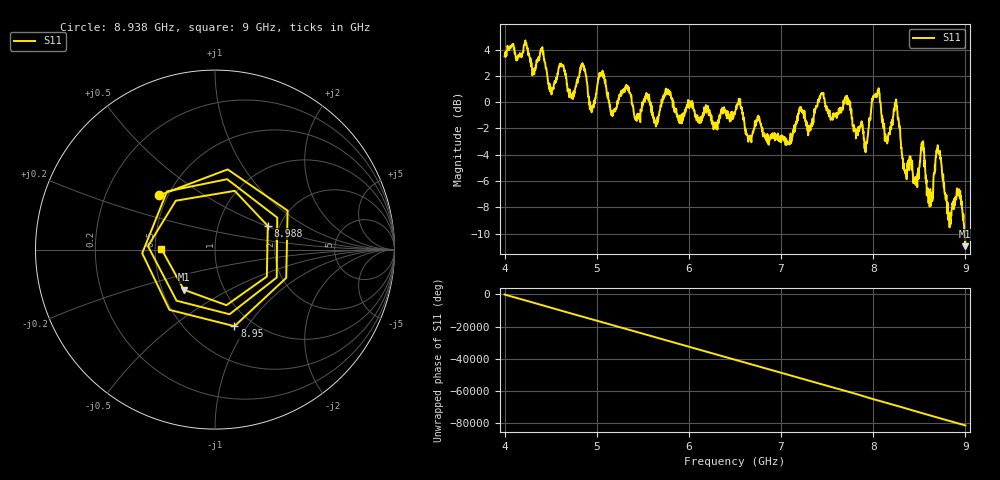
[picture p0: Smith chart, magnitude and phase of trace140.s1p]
! Created with skrf 1.8.0 (http://scikit-rf.org).
# Hz S RI R 50.0
!freq ReS11 ImS11
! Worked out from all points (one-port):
!   1601 points, 4 GHz to 9 GHz, reference 50 ohm
!   lowest |S11| = -11.0 dB at 8.997 GHz (marker M1), VSWR 1.79, Z = 32.2 - j15.7 ohm
!   |S11| at or under -10 dB: 8.994007 GHz to end of sweep
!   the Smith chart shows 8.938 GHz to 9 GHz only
!   S11 on the Smith chart (normalised r, x): 8.938 GHz: 0.45, +0.33; 8.95 GHz: 0.83, -0.87; 8.988 GHz: 1.74, +0.51; 9 GHz: 0.54, +0.00
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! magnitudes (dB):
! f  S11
! 4 GHz  3.5
! 4.506 GHz  0.9
! 4.625 GHz  2.8
! 4.725 GHz  0.4
! 4.856 GHz  2.7
! 4.944 GHz  -0.8
! 5.053 GHz  2.1
! 5.162 GHz  -0.8
! 5.25 GHz  0.5
! 5.875 GHz  -1.0
! 6.5 GHz  -0.9
! 7.125 GHz  -2.6
! 7.441 GHz  0.7
! 7.75 GHz  0.0
! 7.919 GHz  -3.8
! 8.034 GHz  0.4
! 8.147 GHz  -2.9
! 8.247 GHz  0.2
! 8.375 GHz  -4.9
! 8.538 GHz  -3.5
! 8.625 GHz  -7.9
! 8.706 GHz  -3.8
! 8.822 GHz  -8.7
! 8.938 GHz  -7.2
! 8.95 GHz  -7.1
! 8.988 GHz  -9.8
! 8.997 GHz  -11.0
! 9 GHz  -10.5
